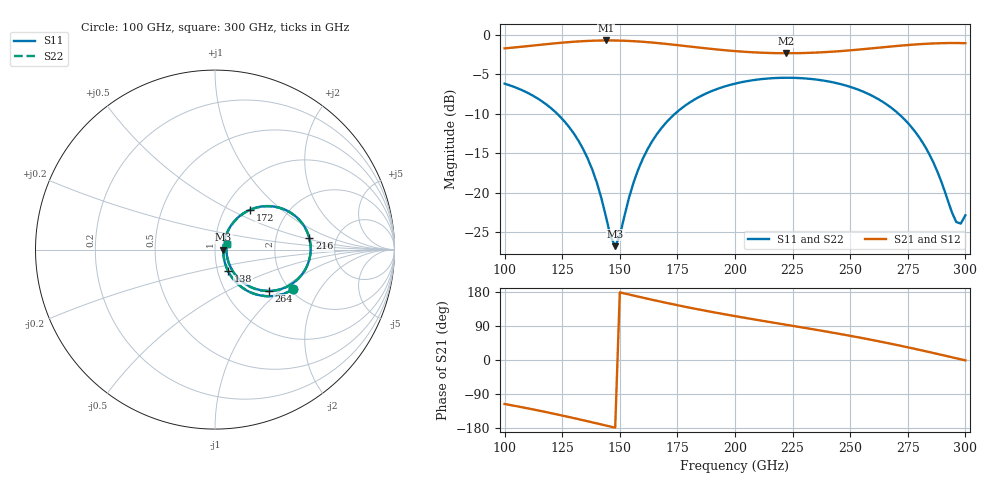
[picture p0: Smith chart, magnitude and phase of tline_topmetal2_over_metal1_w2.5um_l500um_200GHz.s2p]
#  GHZ S DB R 50
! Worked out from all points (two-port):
!   101 points, 100 GHz to 300 GHz, reference 50 ohm
!   highest |S21| = -0.75 dB at 144 GHz (marker M1); lowest = -2.4 dB at 222 GHz (marker M2)
!   |S21| within 3 dB of the highest: start of sweep to end of sweep
!   lowest |S11| = -26.8 dB at 148 GHz (marker M3), VSWR 1.10, Z = 54.8 - j0.0472 ohm
!   |S11| at or under -10 dB: 122.8 GHz to 174 GHz (51.24 GHz wide, 34.5 % of centre); 270.9 GHz to end of sweep
!   |S22| runs from -26.6 to -5.5 dB; largest |S21 - S12| = 9.8e-14
!   S11 on the Smith chart (normalised r, x): 100 GHz: 2.08, -1.20; 138 GHz: 1.12, -0.28; 172 GHz: 1.31, +0.64; 216 GHz: 3.14, +0.55; 264 GHz: 1.57, -0.84; 300 GHz: 1.14, +0.07
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100  -6.21 -26.7  -1.75 -116.1  -1.75 -116.1  -6.21 -26.7
120  -9.27 -47.0  -1.16 -140.0  -1.16 -140.0  -9.28 -46.9
134  -14.43 -58.5  -0.84 -158.8  -0.84 -158.8  -14.43 -58.3
138  -17.03 -58.8  -0.78 -164.4  -0.78 -164.4  -17.02 -58.5
144  -23.05 -45.2  -0.75 -173.0  -0.75 -173.0  -22.99 -44.7
148  -26.76 -0.5  -0.75 -178.7  -0.75 -178.7  -26.60 -0.5
158  -17.06 56.2  -0.87 167.2  -0.87 167.2  -17.03 55.8
168  -11.86 52.1  -1.12 153.7  -1.12 153.7  -11.85 51.8
172  -10.55 48.6  -1.24 148.5  -1.24 148.5  -10.55 48.4
186  -7.66 35.1  -1.70 131.4  -1.70 131.4  -7.65 34.9
200  -6.21 21.6  -2.09 115.8  -2.09 115.8  -6.20 21.4
216  -5.52 6.9  -2.34 99.3  -2.34 99.3  -5.52 6.7
222  -5.46 1.4  -2.36 93.2  -2.36 93.2  -5.46 1.3
234  -5.65 -9.4  -2.29 80.9  -2.29 80.9  -5.65 -9.6
250  -6.61 -24.3  -1.99 63.8  -1.99 63.8  -6.61 -24.5
264  -8.48 -37.6  -1.61 47.4  -1.61 47.4  -8.48 -37.9
268  -9.29 -41.3  -1.50 42.5  -1.50 42.5  -9.30 -41.5
276  -11.50 -47.9  -1.30 32.1  -1.30 32.1  -11.50 -48.1
284  -14.94 -51.1  -1.15 21.3  -1.15 21.3  -14.94 -51.3
296  -23.70 -12.3  -1.07 4.6  -1.07 4.6  -23.71 -12.5
298  -23.91 8.1  -1.08 1.8  -1.08 1.8  -23.92 7.9
300  -22.85 26.1  -1.09 -1.0  -1.09 -1.0  -22.85 26.0
